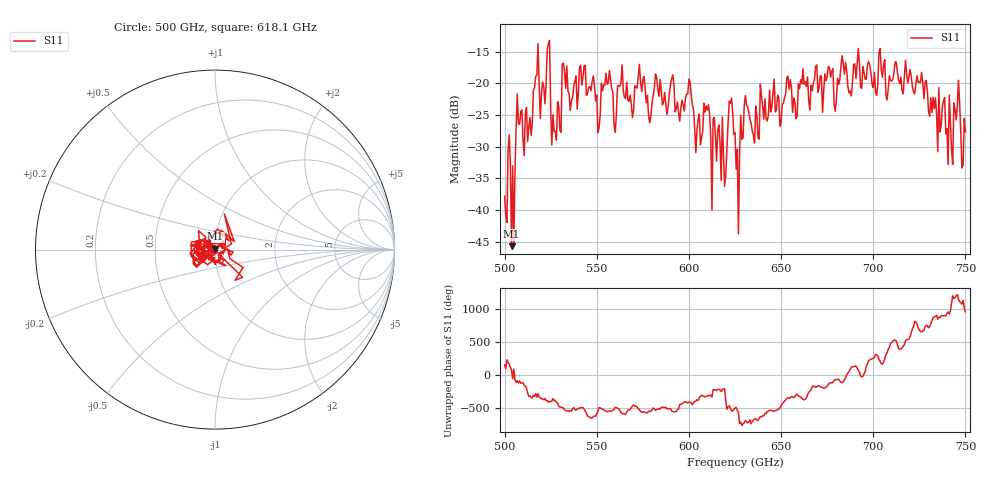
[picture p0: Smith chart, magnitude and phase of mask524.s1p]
!Created with skrf (http://scikit-rf.org).
# GHz S MA R 50.0
!freq magS11 angS11
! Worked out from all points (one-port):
!   401 points, 500 GHz to 750 GHz, reference 50 ohm
!   lowest |S11| = -45.7 dB at 503.8 GHz (marker M1), VSWR 1.01, Z = 50.1 + j0.5 ohm
!   |S11| at or under -10 dB: start of sweep to end of sweep
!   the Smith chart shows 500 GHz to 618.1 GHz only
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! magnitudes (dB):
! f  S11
! 500 GHz  -37.8
! 503.8 GHz  -45.7
! 505 GHz  -45.6
! 507.5 GHz  -26.4
! 513.8 GHz  -25.4
! 516.9 GHz  -18.9
! 520.6 GHz  -19.8
! 523.8 GHz  -13.8
! 526.9 GHz  -27.6
! 531.2 GHz  -17.0
! 542.5 GHz  -19.0
! 550.6 GHz  -27.8
! 562.5 GHz  -20.5
! 593.8 GHz  -23.0
! 609.4 GHz  -23.6
! 618.8 GHz  -31.4
! 622.5 GHz  -23.2
! 625 GHz  -27.8
! 626.2 GHz  -30.4
! 631.2 GHz  -23.5
! 634.4 GHz  -27.5
! 656.2 GHz  -24.6
! 676.9 GHz  -19.1
! 680 GHz  -22.5
! 683.8 GHz  -17.0
! 687.5 GHz  -21.2
! 718.8 GHz  -20.0
! 750 GHz  -27.7
